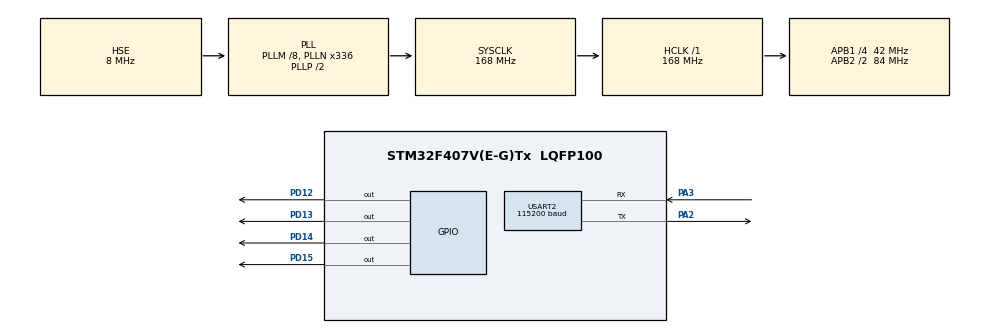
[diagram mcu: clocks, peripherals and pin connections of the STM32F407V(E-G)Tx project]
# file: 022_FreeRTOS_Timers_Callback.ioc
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FREERTOS.Tasks01=defaultTask,24,128,StartDefaultTask,Default,NULL,Dynamic,NULL,NULL
FREERTOS.configUSE_NEWLIB_REENTRANT=1
Mcu.Family=STM32F4
Mcu.Name=STM32F407V(E-G)Tx
Mcu.Package=LQFP100
NVIC.PriorityGroup=NVIC_PRIORITYGROUP_4
NVIC.TIM8_TRG_COM_TIM14_IRQn=true\:15\:0\:false\:false\:true\:false\:false\:true\:true
NVIC.TimeBase=TIM8_TRG_COM_TIM14_IRQn
NVIC.TimeBaseIP=TIM14
NVIC.USART2_IRQn=true\:5\:0\:false\:false\:true\:true\:true\:true\:true
PA2.Mode=Asynchronous
PA2.Signal=USART2_TX
PA3.Mode=Asynchronous
PA3.Signal=USART2_RX
PD12.Signal=GPIO_Output
PD13.Signal=GPIO_Output
PD14.Signal=GPIO_Output
PD15.Signal=GPIO_Output
PH0-OSC_IN.Mode=HSE-External-Oscillator
PH0-OSC_IN.Signal=RCC_OSC_IN
PH1-OSC_OUT.Mode=HSE-External-Oscillator
PH1-OSC_OUT.Signal=RCC_OSC_OUT
ProjectManager.HeapSize=0x200
ProjectManager.StackSize=0x400
ProjectManager.TargetToolchain=STM32CubeIDE
RCC.48MHZClocksFreq_Value=48000000
RCC.AHBFreq_Value=168000000
RCC.APB1CLKDivider=RCC_HCLK_DIV4
RCC.APB1Freq_Value=42000000
RCC.APB1TimFreq_Value=84000000
RCC.APB2CLKDivider=RCC_HCLK_DIV2
RCC.APB2Freq_Value=84000000
RCC.APB2TimFreq_Value=168000000
RCC.CortexFreq_Value=168000000
RCC.HCLKFreq_Value=168000000
RCC.HSE_VALUE=8000000
RCC.HSI_VALUE=16000000
RCC.LSE_VALUE=32768
RCC.PLLM=8
RCC.PLLN=336
RCC.PLLQ=7
RCC.PLLSourceVirtual=RCC_PLLSOURCE_HSE
RCC.SYSCLKFreq_VALUE=168000000
RCC.SYSCLKSource=RCC_SYSCLKSOURCE_PLLCLK
RCC.VCOOutputFreq_Value=336000000
USART2.BaudRate=115200
USART2.VirtualMode=VM_ASYNC
VP_FREERTOS_VS_CMSIS_V2.Mode=CMSIS_V2
VP_SYS_VS_tim14.Mode=TIM14
board=STM32F407G-DISC1

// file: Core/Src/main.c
/* USER CODE BEGIN Header */
/**
  ******************************************************************************
  * @file           : main.c
  * @brief          : Main program body
  ******************************************************************************
  * @attention
  *
  * Copyright (c) 2023 STMicroelectronics.
  * All rights reserved.
  *
  * This software is licensed under terms that can be found in the LICENSE file
  * in the root directory of this software component.
  * If no LICENSE file comes with this software, it is provided AS-IS.
  *
  ******************************************************************************
  */
/* USER CODE END Header */
#include "main.h"

/* USER CODE BEGIN Includes */
#include "FreeRTOS.h"
#include "task.h"
#include "timers.h"
#include <stdio.h>
#include <string.h>
/* USER CODE END Includes */

/* USER CODE BEGIN PD */
#define mainONE_SHOT_TIMER_PERIOD		(3333)
#define mainAUTO_RELOAD_TIMER_PERIOD	(500)
/* USER CODE END PD */

UART_HandleTypeDef huart2;

/* Definitions for defaultTask */

/* USER CODE BEGIN PV */
TimerHandle_t xOneShotTimer = NULL;
TimerHandle_t xAutoReloadTimer = NULL;
/* USER CODE END PV */

void SystemClock_Config(void);
static void MX_GPIO_Init(void);
static void MX_USART2_UART_Init(void);

/* USER CODE BEGIN 0 */
static void prvTimerCallback(TimerHandle_t xTimer)
{
	TickType_t xTimeNow;
	uint32_t ulExecutionCount;
	char buffer[50];

	ulExecutionCount = (uint32_t) pvTimerGetTimerID(xTimer);
	ulExecutionCount++;
	vTimerSetTimerID(xTimer,(void *)ulExecutionCount);

	xTimeNow = xTaskGetTickCount();

	if(xTimer == xOneShotTimer)
	{
		sprintf(buffer, "One-shot timer callback executing, %ld\r\n", xTimeNow);
		HAL_UART_Transmit(&huart2, (uint8_t *)buffer, strlen(buffer), HAL_MAX_DELAY);
	}
	else
	{
		sprintf(buffer, "Auto-reload timer callback executing, %ld\r\n", xTimeNow);
		HAL_UART_Transmit(&huart2, (uint8_t *)buffer, strlen(buffer), HAL_MAX_DELAY);
		if(ulExecutionCount == 5)
			xTimerStop(xTimer,0);
	}
}
/* USER CODE END 0 */

int main(void)
{

  /* MCU Configuration--------------------------------------------------------*/

  /* Reset of all peripherals, Initializes the Flash interface and the Systick. */
  HAL_Init();

  /* Configure the system clock */
  SystemClock_Config();

  /* Initialize all configured peripherals */
  MX_GPIO_Init();
  MX_USART2_UART_Init();
  /* USER CODE BEGIN 2 */
  xOneShotTimer = xTimerCreate("OneShot",mainONE_SHOT_TIMER_PERIOD, pdFALSE, 0, prvTimerCallback);
  xAutoReloadTimer = xTimerCreate("AutoReload", mainAUTO_RELOAD_TIMER_PERIOD, pdTRUE, 0, prvTimerCallback);

  xTimerStart(xOneShotTimer, 0);
  xTimerStart(xAutoReloadTimer, 0);
  vTaskStartScheduler();
  /* USER CODE END 2 */

  /* Init scheduler */

  /* Create the thread(s) */
  /* creation of defaultTask */

  /* Start scheduler */
  /* We should never get here as control is now taken by the scheduler */
  /* Infinite loop */
  while (1)
  {

  }
}

void SystemClock_Config(void)
{
  RCC_OscInitTypeDef RCC_OscInitStruct = {0};
  RCC_ClkInitTypeDef RCC_ClkInitStruct = {0};

  /** Configure the main internal regulator output voltage
  */
  __HAL_RCC_PWR_CLK_ENABLE();
  __HAL_PWR_VOLTAGESCALING_CONFIG(PWR_REGULATOR_VOLTAGE_SCALE1);

  /** Initializes the RCC Oscillators according to the specified parameters
  * in the RCC_OscInitTypeDef structure.
  */
  RCC_OscInitStruct.OscillatorType = RCC_OSCILLATORTYPE_HSE;
  RCC_OscInitStruct.HSEState = RCC_HSE_ON;
  RCC_OscInitStruct.PLL.PLLState = RCC_PLL_ON;
  RCC_OscInitStruct.PLL.PLLSource = RCC_PLLSOURCE_HSE;
  RCC_OscInitStruct.PLL.PLLM = 8;
  RCC_OscInitStruct.PLL.PLLN = 336;
  RCC_OscInitStruct.PLL.PLLP = RCC_PLLP_DIV2;
  RCC_OscInitStruct.PLL.PLLQ = 7;
  if (HAL_RCC_OscConfig(&RCC_OscInitStruct) != HAL_OK)
  {
    Error_Handler();
  }

  /** Initializes the CPU, AHB and APB buses clocks
  */
  RCC_ClkInitStruct.ClockType = RCC_CLOCKTYPE_HCLK|RCC_CLOCKTYPE_SYSCLK
                              |RCC_CLOCKTYPE_PCLK1|RCC_CLOCKTYPE_PCLK2;
  RCC_ClkInitStruct.SYSCLKSource = RCC_SYSCLKSOURCE_PLLCLK;
  RCC_ClkInitStruct.AHBCLKDivider = RCC_SYSCLK_DIV1;
  RCC_ClkInitStruct.APB1CLKDivider = RCC_HCLK_DIV4;
  RCC_ClkInitStruct.APB2CLKDivider = RCC_HCLK_DIV2;

  if (HAL_RCC_ClockConfig(&RCC_ClkInitStruct, FLASH_LATENCY_5) != HAL_OK)
  {
    Error_Handler();
  }
}

static void MX_USART2_UART_Init(void)
{

  huart2.Instance = USART2;
  huart2.Init.BaudRate = 115200;
  huart2.Init.WordLength = UART_WORDLENGTH_8B;
  huart2.Init.StopBits = UART_STOPBITS_1;
  huart2.Init.Parity = UART_PARITY_NONE;
  huart2.Init.Mode = UART_MODE_TX_RX;
  huart2.Init.HwFlowCtl = UART_HWCONTROL_NONE;
  huart2.Init.OverSampling = UART_OVERSAMPLING_16;
  if (HAL_UART_Init(&huart2) != HAL_OK)
  {
    Error_Handler();
  }

}

static void MX_GPIO_Init(void)
{
  GPIO_InitTypeDef GPIO_InitStruct = {0};

  /* GPIO Ports Clock Enable */
  __HAL_RCC_GPIOH_CLK_ENABLE();
  __HAL_RCC_GPIOA_CLK_ENABLE();
  __HAL_RCC_GPIOD_CLK_ENABLE();

  /*Configure GPIO pin Output Level */
  HAL_GPIO_WritePin(GPIOD, GPIO_PIN_12|GPIO_PIN_13|GPIO_PIN_14|GPIO_PIN_15, GPIO_PIN_RESET);

  /*Configure GPIO pins : PD12 PD13 PD14 PD15 */
  GPIO_InitStruct.Pin = GPIO_PIN_12|GPIO_PIN_13|GPIO_PIN_14|GPIO_PIN_15;
  GPIO_InitStruct.Mode = GPIO_MODE_OUTPUT_PP;
  GPIO_InitStruct.Pull = GPIO_NOPULL;
  GPIO_InitStruct.Speed = GPIO_SPEED_FREQ_LOW;
  HAL_GPIO_Init(GPIOD, &GPIO_InitStruct);

}

void HAL_TIM_PeriodElapsedCallback(TIM_HandleTypeDef *htim)
{
  if (htim->Instance == TIM14) {
    HAL_IncTick();
  }
}

void Error_Handler(void)
{
  __disable_irq();
  while (1)
  {
  }
}
